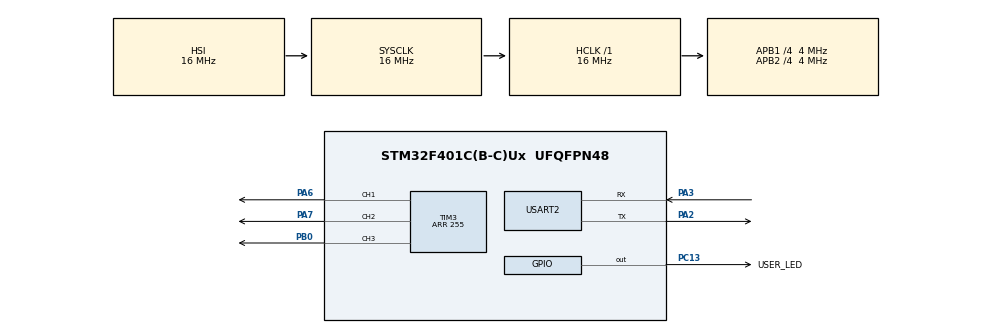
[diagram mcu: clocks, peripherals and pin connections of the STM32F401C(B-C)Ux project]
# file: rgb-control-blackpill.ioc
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Mcu.Family=STM32F4
Mcu.Name=STM32F401C(B-C)Ux
Mcu.Package=UFQFPN48
NVIC.PriorityGroup=NVIC_PRIORITYGROUP_4
NVIC.TIM3_IRQn=true\:0\:0\:false\:false\:true\:true\:true\:true
NVIC.TIM4_IRQn=true\:0\:0\:false\:false\:true\:true\:true\:true
PA2.Mode=Asynchronous
PA2.Signal=USART2_TX
PA3.Mode=Asynchronous
PA3.Signal=USART2_RX
PA6.Signal=S_TIM3_CH1
PA7.Signal=S_TIM3_CH2
PB0.Signal=S_TIM3_CH3
PC13-ANTI_TAMP.GPIO_Label=USER_LED
PC13-ANTI_TAMP.Signal=GPIO_Output
ProjectManager.HeapSize=0x200
ProjectManager.StackSize=0x400
ProjectManager.TargetToolchain=STM32CubeIDE
RCC.AHBFreq_Value=16000000
RCC.APB1CLKDivider=RCC_HCLK_DIV4
RCC.APB1Freq_Value=4000000
RCC.APB1TimFreq_Value=8000000
RCC.APB2CLKDivider=RCC_HCLK_DIV4
RCC.APB2Freq_Value=4000000
RCC.APB2TimFreq_Value=8000000
RCC.CortexFreq_Value=16000000
RCC.HSE_VALUE=25000000
RCC.HSI_VALUE=16000000
RCC.LSE_VALUE=32768
RCC.SYSCLKFreq_VALUE=16000000
RCC.VCOOutputFreq_Value=192000000
SH.S_TIM3_CH1.0=TIM3_CH1,PWM Generation1 CH1
SH.S_TIM3_CH2.0=TIM3_CH2,PWM Generation2 CH2
SH.S_TIM3_CH3.0=TIM3_CH3,Output Compare3 CH3
TIM3.AutoReloadPreload=TIM_AUTORELOAD_PRELOAD_ENABLE
TIM3.Channel-Output\ Compare3\ CH3=TIM_CHANNEL_3
TIM3.Channel-PWM\ Generation1\ CH1=TIM_CHANNEL_1
TIM3.Channel-PWM\ Generation2\ CH2=TIM_CHANNEL_2
TIM3.Period=255
TIM4.AutoReloadPreload=TIM_AUTORELOAD_PRELOAD_ENABLE
TIM4.Period=1000-1
TIM4.Prescaler=8000-1
USART2.VirtualMode=VM_ASYNC
VP_TIM3_VS_ClockSourceINT.Mode=Internal
VP_TIM4_VS_ClockSourceINT.Mode=Internal
board=custom

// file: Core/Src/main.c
/* USER CODE BEGIN Header */
/**
  ******************************************************************************
  * @file           : main.c
  * @brief          : Main program body
  ******************************************************************************
  * @attention
  *
  * Copyright (c) 2024 STMicroelectronics.
  * All rights reserved.
  *
  * This software is licensed under terms that can be found in the LICENSE file
  * in the root directory of this software component.
  * If no LICENSE file comes with this software, it is provided AS-IS.
  *
  ******************************************************************************
  */
/* USER CODE END Header */
#include "main.h"

/* USER CODE BEGIN Includes */
#include "RGB.h"
#include <stdio.h>

/* USER CODE END Includes */

TIM_HandleTypeDef htim3;
TIM_HandleTypeDef htim4;

UART_HandleTypeDef huart2;

void SystemClock_Config(void);
static void MX_GPIO_Init(void);
static void MX_USART2_UART_Init(void);
static void MX_TIM3_Init(void);
static void MX_TIM4_Init(void);

/* USER CODE BEGIN 0 */

// create an RGB LED instance
RGB_instance mealy_rgb;
RGB_instance* p_mealy_rgb = &mealy_rgb;

// a color struct to hold different colors
RGB_color mealy_colors;
RGB_color* p_mealy_colors = &mealy_colors;
volatile uint8_t interrupt_counter = 0;
uint8_t seconds = 0;
uint32_t last_time = 0;

/* USER CODE END 0 */

int main(void)
{

  /* MCU Configuration--------------------------------------------------------*/

  /* Reset of all peripherals, Initializes the Flash interface and the Systick. */
  HAL_Init();

  /* Configure the system clock */
  SystemClock_Config();

  /* Initialize all configured peripherals */
  MX_GPIO_Init();
  MX_USART2_UART_Init();
  MX_TIM3_Init();
  MX_TIM4_Init();
  /* USER CODE BEGIN 2 */

  // timer to generate 1 second pulses
  HAL_TIM_Base_Start_IT(&htim4);
  TIM4->CCR1 = 500;

  // set parameters for RGB LED
  // for setting fade interval
  last_time = HAL_GetTick();

  RGB_set_parameters(p_mealy_rgb, &htim3, last_time);

  RGB_init(p_mealy_rgb);

  RGB_color_code white = WHITE;
  RGB_color_code green = GREEN;
  RGB_color_code red = RED;
  RGB_color_code blue = BLUE;

  p_mealy_colors->red_value = 0;
  p_mealy_colors->green_value = 10;
  p_mealy_colors->red_value = 255;

  RGB_set_color(p_mealy_rgb, p_mealy_colors);

  char buff[10];
  int uart_buff_len;

  /* USER CODE END 2 */

  /* Infinite loop */
  while (1)
  {

    /* USER CODE BEGIN 3 */

	  // timer3 clock frequency is 8Mhz
	  if(seconds < 15) {
		  // pulse a different color
		  // fade white
		  pulse(p_mealy_rgb, red, last_time);

	  } else if(seconds < 30) {
		  // fade green
		  pulse(p_mealy_rgb, green, last_time);
	  } else if(seconds > 30) {
		  // fade red
		  pulse(p_mealy_rgb, white , last_time);
	  }

	  if(seconds == 60) {
		  seconds = 0;
	  }

	  uart_buff_len = sprintf(buff, "%d\r\n", seconds);
	  HAL_UART_Transmit(&huart2, (uint8_t*)buff, uart_buff_len, 100);

  }
  /* USER CODE END 3 */
}

void SystemClock_Config(void)
{
  RCC_OscInitTypeDef RCC_OscInitStruct = {0};
  RCC_ClkInitTypeDef RCC_ClkInitStruct = {0};

  /** Configure the main internal regulator output voltage
  */
  __HAL_RCC_PWR_CLK_ENABLE();
  __HAL_PWR_VOLTAGESCALING_CONFIG(PWR_REGULATOR_VOLTAGE_SCALE2);

  /** Initializes the RCC Oscillators according to the specified parameters
  * in the RCC_OscInitTypeDef structure.
  */
  RCC_OscInitStruct.OscillatorType = RCC_OSCILLATORTYPE_HSI;
  RCC_OscInitStruct.HSIState = RCC_HSI_ON;
  RCC_OscInitStruct.HSICalibrationValue = RCC_HSICALIBRATION_DEFAULT;
  RCC_OscInitStruct.PLL.PLLState = RCC_PLL_NONE;
  if (HAL_RCC_OscConfig(&RCC_OscInitStruct) != HAL_OK)
  {
    Error_Handler();
  }

  /** Initializes the CPU, AHB and APB buses clocks
  */
  RCC_ClkInitStruct.ClockType = RCC_CLOCKTYPE_HCLK|RCC_CLOCKTYPE_SYSCLK
                              |RCC_CLOCKTYPE_PCLK1|RCC_CLOCKTYPE_PCLK2;
  RCC_ClkInitStruct.SYSCLKSource = RCC_SYSCLKSOURCE_HSI;
  RCC_ClkInitStruct.AHBCLKDivider = RCC_SYSCLK_DIV1;
  RCC_ClkInitStruct.APB1CLKDivider = RCC_HCLK_DIV4;
  RCC_ClkInitStruct.APB2CLKDivider = RCC_HCLK_DIV4;

  if (HAL_RCC_ClockConfig(&RCC_ClkInitStruct, FLASH_LATENCY_0) != HAL_OK)
  {
    Error_Handler();
  }
}

static void MX_TIM3_Init(void)
{

  TIM_ClockConfigTypeDef sClockSourceConfig = {0};
  TIM_MasterConfigTypeDef sMasterConfig = {0};
  TIM_OC_InitTypeDef sConfigOC = {0};

  htim3.Instance = TIM3;
  htim3.Init.Prescaler = 0;
  htim3.Init.CounterMode = TIM_COUNTERMODE_UP;
  htim3.Init.Period = 255;
  htim3.Init.ClockDivision = TIM_CLOCKDIVISION_DIV1;
  htim3.Init.AutoReloadPreload = TIM_AUTORELOAD_PRELOAD_ENABLE;
  if (HAL_TIM_Base_Init(&htim3) != HAL_OK)
  {
    Error_Handler();
  }
  sClockSourceConfig.ClockSource = TIM_CLOCKSOURCE_INTERNAL;
  if (HAL_TIM_ConfigClockSource(&htim3, &sClockSourceConfig) != HAL_OK)
  {
    Error_Handler();
  }
  if (HAL_TIM_PWM_Init(&htim3) != HAL_OK)
  {
    Error_Handler();
  }
  if (HAL_TIM_OC_Init(&htim3) != HAL_OK)
  {
    Error_Handler();
  }
  sMasterConfig.MasterOutputTrigger = TIM_TRGO_RESET;
  sMasterConfig.MasterSlaveMode = TIM_MASTERSLAVEMODE_DISABLE;
  if (HAL_TIMEx_MasterConfigSynchronization(&htim3, &sMasterConfig) != HAL_OK)
  {
    Error_Handler();
  }
  sConfigOC.OCMode = TIM_OCMODE_PWM1;
  sConfigOC.Pulse = 0;
  sConfigOC.OCPolarity = TIM_OCPOLARITY_HIGH;
  sConfigOC.OCFastMode = TIM_OCFAST_DISABLE;
  if (HAL_TIM_PWM_ConfigChannel(&htim3, &sConfigOC, TIM_CHANNEL_1) != HAL_OK)
  {
    Error_Handler();
  }
  if (HAL_TIM_PWM_ConfigChannel(&htim3, &sConfigOC, TIM_CHANNEL_2) != HAL_OK)
  {
    Error_Handler();
  }
  sConfigOC.OCMode = TIM_OCMODE_TIMING;
  if (HAL_TIM_OC_ConfigChannel(&htim3, &sConfigOC, TIM_CHANNEL_3) != HAL_OK)
  {
    Error_Handler();
  }
  HAL_TIM_MspPostInit(&htim3);

}

static void MX_TIM4_Init(void)
{

  TIM_ClockConfigTypeDef sClockSourceConfig = {0};
  TIM_MasterConfigTypeDef sMasterConfig = {0};

  htim4.Instance = TIM4;
  htim4.Init.Prescaler = 8000-1;
  htim4.Init.CounterMode = TIM_COUNTERMODE_UP;
  htim4.Init.Period = 1000-1;
  htim4.Init.ClockDivision = TIM_CLOCKDIVISION_DIV1;
  htim4.Init.AutoReloadPreload = TIM_AUTORELOAD_PRELOAD_ENABLE;
  if (HAL_TIM_Base_Init(&htim4) != HAL_OK)
  {
    Error_Handler();
  }
  sClockSourceConfig.ClockSource = TIM_CLOCKSOURCE_INTERNAL;
  if (HAL_TIM_ConfigClockSource(&htim4, &sClockSourceConfig) != HAL_OK)
  {
    Error_Handler();
  }
  sMasterConfig.MasterOutputTrigger = TIM_TRGO_RESET;
  sMasterConfig.MasterSlaveMode = TIM_MASTERSLAVEMODE_DISABLE;
  if (HAL_TIMEx_MasterConfigSynchronization(&htim4, &sMasterConfig) != HAL_OK)
  {
    Error_Handler();
  }

}

static void MX_USART2_UART_Init(void)
{

  huart2.Instance = USART2;
  huart2.Init.BaudRate = 115200;
  huart2.Init.WordLength = UART_WORDLENGTH_8B;
  huart2.Init.StopBits = UART_STOPBITS_1;
  huart2.Init.Parity = UART_PARITY_NONE;
  huart2.Init.Mode = UART_MODE_TX_RX;
  huart2.Init.HwFlowCtl = UART_HWCONTROL_NONE;
  huart2.Init.OverSampling = UART_OVERSAMPLING_16;
  if (HAL_UART_Init(&huart2) != HAL_OK)
  {
    Error_Handler();
  }

}

static void MX_GPIO_Init(void)
{
  GPIO_InitTypeDef GPIO_InitStruct = {0};

  /* GPIO Ports Clock Enable */
  __HAL_RCC_GPIOC_CLK_ENABLE();
  __HAL_RCC_GPIOA_CLK_ENABLE();
  __HAL_RCC_GPIOB_CLK_ENABLE();

  /*Configure GPIO pin Output Level */
  HAL_GPIO_WritePin(USER_LED_GPIO_Port, USER_LED_Pin, GPIO_PIN_RESET);

  /*Configure GPIO pin : USER_LED_Pin */
  GPIO_InitStruct.Pin = USER_LED_Pin;
  GPIO_InitStruct.Mode = GPIO_MODE_OUTPUT_PP;
  GPIO_InitStruct.Pull = GPIO_NOPULL;
  GPIO_InitStruct.Speed = GPIO_SPEED_FREQ_LOW;
  HAL_GPIO_Init(USER_LED_GPIO_Port, &GPIO_InitStruct);

}

/* USER CODE BEGIN 4 */
void HAL_TIM_PeriodElapsedCallback(TIM_HandleTypeDef *htim) {
	seconds++;
	HAL_GPIO_TogglePin(USER_LED_GPIO_Port, USER_LED_Pin);

}

/* USER CODE END 4 */

void Error_Handler(void)
{
  __disable_irq();
  while (1)
  {
  }
}
